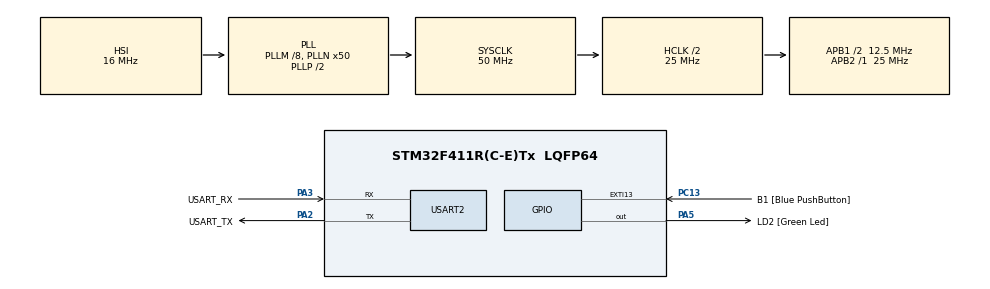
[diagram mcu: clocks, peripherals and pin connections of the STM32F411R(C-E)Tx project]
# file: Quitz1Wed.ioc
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Mcu.Family=STM32F4
Mcu.Name=STM32F411R(C-E)Tx
Mcu.Package=LQFP64
NVIC.PriorityGroup=NVIC_PRIORITYGROUP_0
PA13.GPIO_Label=TMS
PA13.Signal=SYS_JTMS-SWDIO
PA14.GPIO_Label=TCK
PA14.Signal=SYS_JTCK-SWCLK
PA2.GPIO_Label=USART_TX
PA2.Mode=Asynchronous
PA2.Signal=USART2_TX
PA3.GPIO_Label=USART_RX
PA3.Mode=Asynchronous
PA3.Signal=USART2_RX
PA5.GPIO_Label=LD2 [Green Led]
PA5.Signal=GPIO_Output
PB3.GPIO_Label=SWO
PB3.Signal=SYS_JTDO-SWO
PC13-ANTI_TAMP.GPIO_Label=B1 [Blue PushButton]
PC13-ANTI_TAMP.GPIO_ModeDefaultEXTI=GPIO_MODE_IT_FALLING
PC13-ANTI_TAMP.Signal=GPXTI13
PC14-OSC32_IN.Signal=RCC_OSC32_IN
PC15-OSC32_OUT.Signal=RCC_OSC32_OUT
PH0\ -\ OSC_IN.Signal=RCC_OSC_IN
PH1\ -\ OSC_OUT.Signal=RCC_OSC_OUT
ProjectManager.HeapSize=0x200
ProjectManager.StackSize=0x400
ProjectManager.TargetToolchain=STM32CubeIDE
RCC.48MHZClocksFreq_Value=25000000
RCC.AHBCLKDivider=RCC_SYSCLK_DIV2
RCC.AHBFreq_Value=25000000
RCC.APB1CLKDivider=RCC_HCLK_DIV2
RCC.APB1Freq_Value=12500000
RCC.APB1TimFreq_Value=25000000
RCC.APB2Freq_Value=25000000
RCC.APB2TimFreq_Value=25000000
RCC.CortexFreq_Value=25000000
RCC.FLatency-AdvancedSettings=FLASH_LATENCY_0
RCC.HCLKFreq_Value=25000000
RCC.HSE_VALUE=8000000
RCC.HSI_VALUE=16000000
RCC.LSE_VALUE=32768
RCC.PLLM=8
RCC.PLLN=50
RCC.SYSCLKFreq_VALUE=50000000
RCC.SYSCLKSource=RCC_SYSCLKSOURCE_PLLCLK
RCC.VCOOutputFreq_Value=100000000
USART2.VirtualMode=VM_ASYNC
board=NUCLEO-F411RE

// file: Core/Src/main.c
/* USER CODE BEGIN Header */
/**
  ******************************************************************************
  * @file           : main.c
  * @brief          : Main program body
  ******************************************************************************
  * @attention
  *
  * Copyright (c) 2023 STMicroelectronics.
  * All rights reserved.
  *
  * This software is licensed under terms that can be found in the LICENSE file
  * in the root directory of this software component.
  * If no LICENSE file comes with this software, it is provided AS-IS.
  *
  ******************************************************************************
  */
/* USER CODE END Header */
#include "main.h"

UART_HandleTypeDef huart2;

void SystemClock_Config(void);
static void MX_GPIO_Init(void);
static void MX_USART2_UART_Init(void);

int main(void)
{

  /* MCU Configuration--------------------------------------------------------*/

  /* Reset of all peripherals, Initializes the Flash interface and the Systick. */
  HAL_Init();

  /* Configure the system clock */
  SystemClock_Config();

  /* Initialize all configured peripherals */
  MX_GPIO_Init();
  MX_USART2_UART_Init();
  /* USER CODE BEGIN 2 */
  int delay = 4,state=1,cou=0,decou=0,BreakState=0;
  uint8_t data[1];
  /* USER CODE END 2 */

  /* Infinite loop */
  /* USER CODE BEGIN WHILE */
  while (1)
  {
	  if(HAL_GPIO_ReadPin(GPIOC, GPIO_PIN_13) == GPIO_PIN_RESET && state == 1){
	  		  state = 0;
	  		  cou++;
	  		  cou%=2;
	  		  if(cou == 1){
	  			  delay = 2;
	  			  decou = 0;
	  		  }else{
	  			  delay = 20;
	  			  decou = 0;
	  		  }
	  	  }else if(HAL_GPIO_ReadPin(GPIOC, GPIO_PIN_13) == GPIO_PIN_SET){
	  		  state = 1;
	  	  }
	  	  decou++;
	  	  if(decou == delay){
	  		  HAL_GPIO_TogglePin(GPIOA, GPIO_PIN_5);
	  		  decou = 0;
	  	  }
	  	  HAL_UART_Receive(&huart2, data, 1, 25);
	  	  HAL_UART_Transmit(&huart2, data, 1, 25);
	  	  if(data[0] == 'q' && BreakState == 0){
	  		  BreakState = 1;
	  		  data[0] = '\r';
	  	  }else if(data[0] == '!' && BreakState == 1){
	  		  break;
	  	  }else if(data[0] == '\r'){

	  	  }else{
	  		  BreakState = 0;
	  		  data[0] = '\r';
	  	  }
    /* USER CODE END WHILE */

  }
}

void SystemClock_Config(void)
{
  RCC_OscInitTypeDef RCC_OscInitStruct = {0};
  RCC_ClkInitTypeDef RCC_ClkInitStruct = {0};

  /** Configure the main internal regulator output voltage
  */
  __HAL_RCC_PWR_CLK_ENABLE();
  __HAL_PWR_VOLTAGESCALING_CONFIG(PWR_REGULATOR_VOLTAGE_SCALE1);

  /** Initializes the RCC Oscillators according to the specified parameters
  * in the RCC_OscInitTypeDef structure.
  */
  RCC_OscInitStruct.OscillatorType = RCC_OSCILLATORTYPE_HSI;
  RCC_OscInitStruct.HSIState = RCC_HSI_ON;
  RCC_OscInitStruct.HSICalibrationValue = RCC_HSICALIBRATION_DEFAULT;
  RCC_OscInitStruct.PLL.PLLState = RCC_PLL_ON;
  RCC_OscInitStruct.PLL.PLLSource = RCC_PLLSOURCE_HSI;
  RCC_OscInitStruct.PLL.PLLM = 8;
  RCC_OscInitStruct.PLL.PLLN = 50;
  RCC_OscInitStruct.PLL.PLLP = RCC_PLLP_DIV2;
  RCC_OscInitStruct.PLL.PLLQ = 4;
  if (HAL_RCC_OscConfig(&RCC_OscInitStruct) != HAL_OK)
  {
    Error_Handler();
  }

  /** Initializes the CPU, AHB and APB buses clocks
  */
  RCC_ClkInitStruct.ClockType = RCC_CLOCKTYPE_HCLK|RCC_CLOCKTYPE_SYSCLK
                              |RCC_CLOCKTYPE_PCLK1|RCC_CLOCKTYPE_PCLK2;
  RCC_ClkInitStruct.SYSCLKSource = RCC_SYSCLKSOURCE_PLLCLK;
  RCC_ClkInitStruct.AHBCLKDivider = RCC_SYSCLK_DIV2;
  RCC_ClkInitStruct.APB1CLKDivider = RCC_HCLK_DIV2;
  RCC_ClkInitStruct.APB2CLKDivider = RCC_HCLK_DIV1;

  if (HAL_RCC_ClockConfig(&RCC_ClkInitStruct, FLASH_LATENCY_0) != HAL_OK)
  {
    Error_Handler();
  }
}

static void MX_USART2_UART_Init(void)
{

  huart2.Instance = USART2;
  huart2.Init.BaudRate = 115200;
  huart2.Init.WordLength = UART_WORDLENGTH_8B;
  huart2.Init.StopBits = UART_STOPBITS_1;
  huart2.Init.Parity = UART_PARITY_NONE;
  huart2.Init.Mode = UART_MODE_TX_RX;
  huart2.Init.HwFlowCtl = UART_HWCONTROL_NONE;
  huart2.Init.OverSampling = UART_OVERSAMPLING_16;
  if (HAL_UART_Init(&huart2) != HAL_OK)
  {
    Error_Handler();
  }

}

static void MX_GPIO_Init(void)
{
  GPIO_InitTypeDef GPIO_InitStruct = {0};

  /* GPIO Ports Clock Enable */
  __HAL_RCC_GPIOC_CLK_ENABLE();
  __HAL_RCC_GPIOH_CLK_ENABLE();
  __HAL_RCC_GPIOA_CLK_ENABLE();
  __HAL_RCC_GPIOB_CLK_ENABLE();

  /*Configure GPIO pin Output Level */
  HAL_GPIO_WritePin(LD2_GPIO_Port, LD2_Pin, GPIO_PIN_RESET);

  /*Configure GPIO pin : B1_Pin */
  GPIO_InitStruct.Pin = B1_Pin;
  GPIO_InitStruct.Mode = GPIO_MODE_IT_FALLING;
  GPIO_InitStruct.Pull = GPIO_NOPULL;
  HAL_GPIO_Init(B1_GPIO_Port, &GPIO_InitStruct);

  /*Configure GPIO pin : LD2_Pin */
  GPIO_InitStruct.Pin = LD2_Pin;
  GPIO_InitStruct.Mode = GPIO_MODE_OUTPUT_PP;
  GPIO_InitStruct.Pull = GPIO_NOPULL;
  GPIO_InitStruct.Speed = GPIO_SPEED_FREQ_LOW;
  HAL_GPIO_Init(LD2_GPIO_Port, &GPIO_InitStruct);

}

void Error_Handler(void)
{
  __disable_irq();
  while (1)
  {
  }
}
